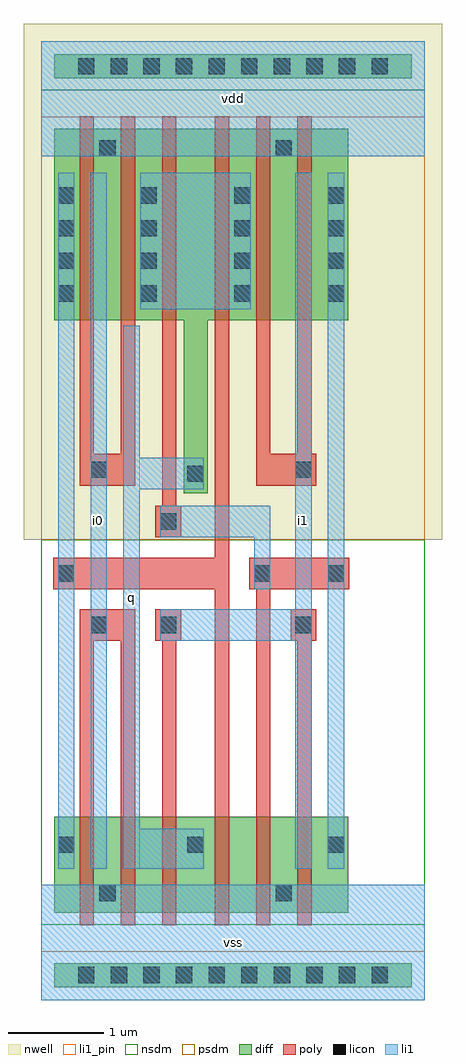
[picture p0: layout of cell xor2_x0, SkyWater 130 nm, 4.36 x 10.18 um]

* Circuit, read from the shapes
.subckt xor2_x0 i0 i1 q vdd vss
XM1 vss i0 n1 VSUBS sky130_fd_pr__nfet_01v8 w=1 l=0.15
XM2 n2 i0 vss VSUBS sky130_fd_pr__nfet_01v8 w=1 l=0.15
XM3 q i1 n2 VSUBS sky130_fd_pr__nfet_01v8 w=1 l=0.15
XM4 n3 n1 q VSUBS sky130_fd_pr__nfet_01v8 w=1 l=0.15
XM5 vss n4 n3 VSUBS sky130_fd_pr__nfet_01v8 w=1 l=0.15
XM6 n4 i1 vss VSUBS sky130_fd_pr__nfet_01v8 w=1 l=0.15
XM7 vdd i0 n1 n5 sky130_fd_pr__pfet_01v8 w=2 l=0.15
XM8 n6 i0 vdd n5 sky130_fd_pr__pfet_01v8 w=2 l=0.15
XM9 q n4 n6 n5 sky130_fd_pr__pfet_01v8 w=2 l=0.15
XM10 n6 n1 q n5 sky130_fd_pr__pfet_01v8 w=2 l=0.15
XM11 vdd i1 n6 n5 sky130_fd_pr__pfet_01v8 w=2 l=0.15
XM12 n4 i1 vdd n5 sky130_fd_pr__pfet_01v8 w=2 l=0.15
.ends

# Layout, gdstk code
import gdstk
lib = gdstk.Library(unit=1e-6, precision=1e-09)
def R(c, l, rs):  # rectangles x0, y0, x1, y1
    for r in rs: c.add(gdstk.rectangle(r[:2], r[2:], *l))
def A(c, l, x, y, w, h, nx, ny, dx, dy):  # array of equal rectangles
    R(c, l, [(x+i*dx, y+j*dy, x+i*dx+w, y+j*dy+h) for i in range(nx) for j in range(ny)])
def P(c, l, *ps):  # polygons
    for p in ps: c.add(gdstk.Polygon(p, *l))
nwell = (64, 20)
diff = (65, 20)
poly = (66, 20)
licon = (66, 44)
li1_pin = (67, 16)
li1 = (67, 20)
nsdm = (93, 44)
psdm = (94, 20)

xor2_x0 = lib.new_cell('xor2_x0')
R(xor2_x0, nwell, [(-0.18,4.8,4.18,10.18)])
R(xor2_x0, diff, [(0.135,0.135,3.865,0.385), (0.135,0.91,3.2,1.91), (0.135,9.615,3.865,9.865)])
P(xor2_x0, diff, [(1.485,5.285),(1.485,7.09),(0.135,7.09),(0.135,9.09),(3.2,9.09),(3.2,7.09),(1.735,7.09),(1.735,5.285)])
P(xor2_x0, poly, [(1.81,0.78),(1.81,4.285),(0.125,4.285),(0.125,4.615),(1.81,4.615),(1.81,9.22),(1.96,9.22),(1.96,0.78)],
  [(0.4,5.365),(0.4,9.22),(0.55,9.22),(0.55,5.695),(0.83,5.695),(0.83,9.22),(0.98,9.22),(0.98,5.365)],
  [(0.4,0.78),(0.4,4.075),(0.98,4.075),(0.98,0.78),(0.83,0.78),(0.83,3.745),(0.55,3.745),(0.55,0.78)],
  [(1.26,0.78),(1.26,3.745),(1.19,3.745),(1.19,4.075),(1.46,4.075),(1.46,3.745),(1.41,3.745),(1.41,0.78)],
  [(2.67,0.78),(2.67,3.745),(2.6,3.745),(2.6,4.075),(2.87,4.075),(2.87,3.745),(2.82,3.745),(2.82,0.78)],
  [(2.24,5.365),(2.24,9.22),(2.39,9.22),(2.39,5.695),(2.67,5.695),(2.67,9.22),(2.82,9.22),(2.82,5.695),(2.87,5.695),(2.87,5.365)],
  [(1.19,4.825),(1.19,5.155),(1.26,5.155),(1.26,9.22),(1.41,9.22),(1.41,5.155),(1.46,5.155),(1.46,4.825)],
  [(2.24,0.78),(2.24,4.285),(2.17,4.285),(2.17,4.615),(3.21,4.615),(3.21,4.285),(2.39,4.285),(2.39,0.78)])
A(xor2_x0, licon, 0.385, 0.175, 0.17, 0.17, 10, 2, 0.34, 9.48)
A(xor2_x0, licon, 0.175, 7.285, 0.17, 0.17, 1, 4, 0, 0.34)
A(xor2_x0, licon, 1.035, 7.285, 0.17, 0.17, 1, 4, 0, 0.34)
A(xor2_x0, licon, 2.015, 7.285, 0.17, 0.17, 1, 4, 0, 0.34)
A(xor2_x0, licon, 2.99, 7.285, 0.17, 0.17, 1, 4, 0, 0.34)
R(xor2_x0, licon, [(0.605,1.03,0.775,1.2), (2.445,1.03,2.615,1.2), (0.175,1.535,0.345,1.705), (1.525,1.535,1.695,1.705), (2.99,1.535,3.16,1.705), (0.515,3.825,0.685,3.995), (1.24,3.825,1.41,3.995), (2.65,3.825,2.82,3.995), (0.175,4.365,0.345,4.535), (2.22,4.365,2.39,4.535), (2.99,4.365,3.16,4.535), (1.24,4.905,1.41,5.075), (1.525,5.405,1.695,5.575), (0.515,5.445,0.685,5.615), (2.65,5.445,2.82,5.615), (0.605,8.8,0.775,8.97), (2.445,8.8,2.615,8.97)])
R(xor2_x0, li1_pin, [(0,0,4,1.2), (0.515,1.37,0.685,8.63), (0.855,1.37,1.025,7.035), (2.65,1.37,2.82,8.63), (0,8.8,4,10)])
R(xor2_x0, li1, [(0,0,4,1.2), (0.175,1.37,0.345,8.63), (0.515,1.37,0.685,8.63), (2.99,1.37,3.16,8.63), (1.035,7.205,2.185,8.63), (0,8.8,4,10)])
P(xor2_x0, li1, [(0.855,1.37),(0.855,7.035),(1.025,7.035),(1.025,5.655),(1.695,5.655),(1.695,5.325),(1.025,5.325),(1.025,1.785),(1.695,1.785),(1.695,1.37)],
  [(2.65,1.37),(2.65,3.745),(1.24,3.745),(1.24,4.075),(2.65,4.075),(2.65,8.63),(2.82,8.63),(2.82,1.37)],
  [(2.22,4.285),(2.22,4.825),(1.24,4.825),(1.24,5.155),(2.39,5.155),(2.39,4.285)])
R(xor2_x0, nsdm, [(0,0.785,4,4.8), (0,9.49,4,10)])
R(xor2_x0, psdm, [(0,0,4,0.51), (0,4.8,4,9.215)])
xor2_x0.add(gdstk.Label('vdd', (2,9.4), layer=67, texttype=16))
xor2_x0.add(gdstk.Label('vss', (2,0.6), layer=67, texttype=16))
xor2_x0.add(gdstk.Label('i0', (0.6,5), layer=67, texttype=16))
xor2_x0.add(gdstk.Label('q', (0.94,4.203), layer=67, texttype=16))
xor2_x0.add(gdstk.Label('i1', (2.735,5), layer=67, texttype=16))

lib.write_gds('xor2_x0.gds')
